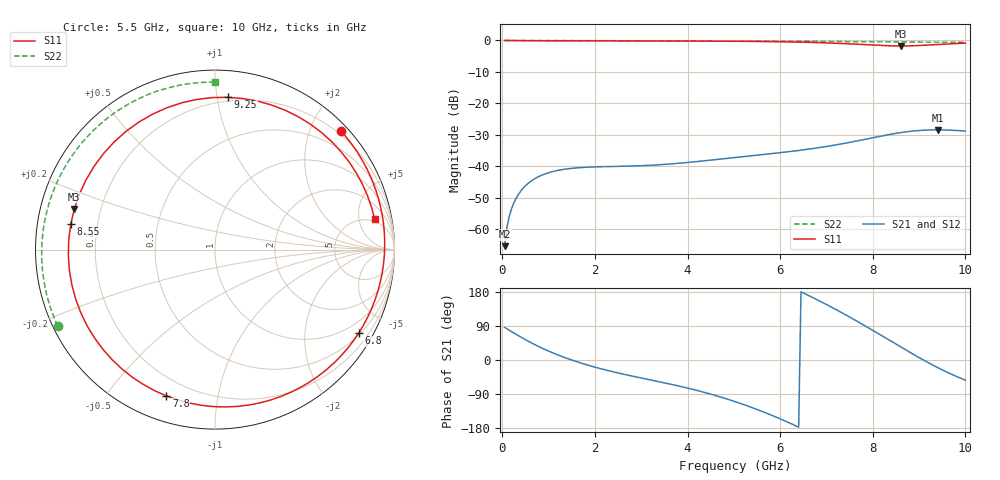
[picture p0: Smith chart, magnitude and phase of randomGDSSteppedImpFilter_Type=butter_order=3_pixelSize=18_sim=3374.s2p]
! freq	dB(S11)	phase(S11)	dB(S12)	phase(S12)
!  dB(S21)	phase(S21)	dB(S22)	phase(S22)
!S-par simulation data
#  GHz  S  DB  R 50
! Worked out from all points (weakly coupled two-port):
!   200 points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, 50 MHz to 10 GHz, reference 50 ohm
!   highest |S21| = -28.37 dB at 9.4 GHz (marker M1); lowest = -65.3 dB at 50 MHz (marker M2)
!   lowest |S11| = -1.8 dB at 8.6 GHz (marker M3), VSWR 9.85, Z = 5.17 + j6.98 ohm
!   |S11| at or under -10 dB: nowhere
!   |S22| runs from -0.6 to 0.0 dB; largest |S21 - S12| = 0
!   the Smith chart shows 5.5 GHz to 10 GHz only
!   S11 on the Smith chart (normalised r, x): 5.5 GHz: 0.13, +2.52; 6.8 GHz: 0.55, -3.62; 7.8 GHz: 0.11, -0.71; 8.55 GHz: 0.10, +0.09; 9.25 GHz: 0.17, +1.07; 10 GHz: 4.32, +8.23
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0.05  -0.00 -6.0  -65.30 86.1  -65.30 86.1  -0.00 -1.6
0.25  -0.04 -29.4  -51.55 71.2  -51.55 71.2  -0.01 -8.1
0.75  -0.09 -81.1  -43.47 37.7  -43.47 37.7  -0.03 -24.2
1.25  -0.11 -120.9  -41.10 11.0  -41.10 11.0  -0.05 -39.9
1.75  -0.12 -151.5  -40.30 -10.0  -40.30 -10.0  -0.07 -55.2
2.5  -0.13 172.1  -39.96 -34.2  -39.96 -34.2  -0.10 -77.2
3.4  -0.16 134.5  -39.45 -57.6  -39.45 -57.6  -0.13 -101.8
4.25  -0.20 99.7  -38.37 -81.7  -38.37 -81.7  -0.16 -123.7
5.05  -0.26 64.7  -37.13 -110.8  -37.13 -110.8  -0.20 -143.3
5.5  -0.32 43.3  -36.43 -130.5  -36.43 -130.5  -0.23 -154.1
6.15  -0.45 9.1  -35.37 -163.3  -35.37 -163.3  -0.27 -169.6
6.7  -0.63 -23.8  -34.32 165.1  -34.32 165.1  -0.32 177.2
6.8  -0.67 -30.3  -34.11 159.0  -34.11 159.0  -0.32 174.8
7.35  -0.98 -69.7  -32.77 123.5  -32.77 123.5  -0.37 161.4
7.8  -1.32 -108.4  -31.48 92.5  -31.48 92.5  -0.41 150.1
8.35  -1.71 -166.2  -29.87 52.9  -29.87 52.9  -0.46 135.9
8.55  -1.77 170.0  -29.37 38.3  -29.37 38.3  -0.48 130.6
8.6  -1.77 163.9  -29.25 34.7  -29.25 34.7  -0.48 129.3
8.95  -1.64 120.7  -28.64 9.7  -28.64 9.7  -0.51 119.8
9.25  -1.40 85.1  -28.40 -10.5  -28.40 -10.5  -0.54 111.5
9.4  -1.26 68.4  -28.37 -20.0  -28.37 -20.0  -0.55 107.3
10  -0.86 10.9  -28.77 -53.2  -28.77 -53.2  -0.60 89.9
